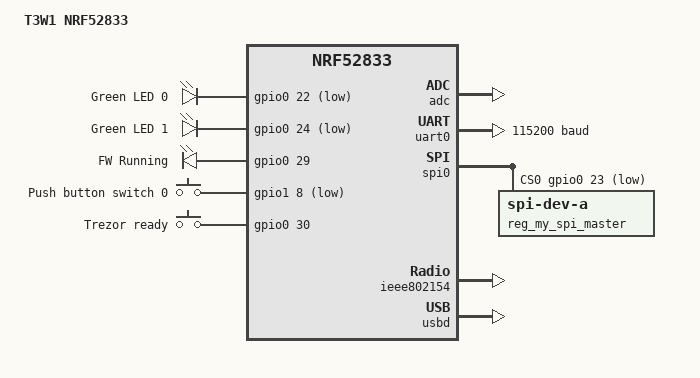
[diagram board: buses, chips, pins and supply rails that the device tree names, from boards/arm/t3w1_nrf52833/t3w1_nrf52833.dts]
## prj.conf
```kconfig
#
# Copyright (c) 2018 Nordic Semiconductor
#
# SPDX-License-Identifier: LicenseRef-Nordic-5-Clause
#

# Enable the UART driver
CONFIG_UART_ASYNC_API=y
CONFIG_NRFX_UARTE0=y
CONFIG_SERIAL=y

CONFIG_NANOPB=y

# Enable the SPI driver
CONFIG_SPI=y
CONFIG_NRFX_SPIM0=y

CONFIG_GPIO=y



CONFIG_HEAP_MEM_POOL_SIZE=2048




CONFIG_BT=y
CONFIG_BT_PERIPHERAL=y
CONFIG_BT_DEVICE_NAME="TrezorZephyr"
CONFIG_BT_DEVICE_APPEARANCE=833
CONFIG_BT_MAX_CONN=1
CONFIG_BT_MAX_PAIRED=8
CONFIG_BT_SMP=y
# CONFIG_BT_SMP_APP_PAIRING_ACCEPT=y
CONFIG_BT_SMP_ENFORCE_MITM=y
CONFIG_BT_SMP_SC_ONLY=y
CONFIG_BT_FILTER_ACCEPT_LIST=y
CONFIG_BT_BONDING_REQUIRED=y
CONFIG_BT_PRIVACY=y
CONFIG_BT_TINYCRYPT_ECC=y
#CONFIG_BT_LL_SW_SPLIT=n
CONFIG_BT_LL_SW_SPLIT=y

#CONFIG_BT_DEBUG_SMP=y

#PHY update needed for updating PHY request
CONFIG_BT_USER_PHY_UPDATE=y

# HCI ACL buffers size
# BT_L2CAP_RX_MTU = CONFIG_BT_BUF_ACL_RX_SIZE - BT_L2CAP_HDR_SIZE
CONFIG_BT_BUF_ACL_RX_SIZE=251

# L2CAP SDU/PDU TX MTU
CONFIG_BT_L2CAP_TX_MTU=247


# Enable bonding
CONFIG_BT_SETTINGS=y
CONFIG_FLASH=y
CONFIG_FLASH_PAGE_LAYOUT=y
CONFIG_FLASH_MAP=y
CONFIG_NVS=y
CONFIG_SETTINGS=y

# Enable DK LED and Buttons library
CONFIG_DK_LIBRARY=y

# This example requires more stack
CONFIG_MAIN_STACK_SIZE=1152
CONFIG_SYSTEM_WORKQUEUE_STACK_SIZE=4096

# NFC
CONFIG_NFC_T4T_NRFXLIB=y

CONFIG_NFC_NDEF=y
CONFIG_NFC_NDEF_MSG=y
CONFIG_NFC_NDEF_RECORD=y
CONFIG_NFC_NDEF_LE_OOB_REC=y
CONFIG_NFC_NDEF_CH_MSG=y

CONFIG_NFC_NDEF_TNEP_RECORD=y
CONFIG_NFC_TNEP_TAG=y
CONFIG_NFC_NDEF_PARSER=y
CONFIG_NFC_NDEF_CH_PARSER=y
CONFIG_NFC_NDEF_LE_OOB_REC_PARSER=y
CONFIG_NFC_TNEP_CH=y

CONFIG_POLL=y

# Config logger
CONFIG_LOG=y
CONFIG_RTT_CONSOLE=y
CONFIG_UART_CONSOLE=n
CONFIG_USE_SEGGER_RTT=y
CONFIG_LOG_BACKEND_RTT=y
CONFIG_LOG_BACKEND_UART=n
CONFIG_LOG_PRINTK=y
CONFIG_LOG_DEFAULT_LEVEL=3

CONFIG_ASSERT=y

# debug
#CONFIG_THREAD_NAME=y
#CONFIG_THREAD_ANALYZER=y
#CONFIG_THREAD_ANALYZER_AUTO=y
#CONFIG_THREAD_ANALYZER_RUN_UNLOCKED=y
#CONFIG_THREAD_ANALYZER_USE_PRINTK=y
#CONFIG_CONSOLE=y
#CONFIG_USE_SEGGER_RTT=y
#CONFIG_CONSOLE=y
#CONFIG_UART_CONSOLE=y
#CONFIG_RTT_CONSOLE=y
#CONFIG_SEGGER_DEBUGMON=y
#CONFIG_LOG_MODE_DEFERRED=y
#CONFIG_SETTINGS=y
#CONFIG_FLASH_MAP=y

#Optimization
CONFIG_DEBUG_OPTIMIZATIONS=y
CONFIG_COMPILER_OPT="-ggdb3 -g3"


CONFIG_THREAD_NAME=y
CONFIG_THREAD_MONITOR=y
CONFIG_CORTEX_M_DEBUG_MONITOR_HOOK=y
CONFIG_SEGGER_DEBUGMON=y

#thread view
#CONFIG_THREAD_ANALYZER=y
#CONFIG_THREAD_ANALYZER_AUTO=y
#CONFIG_THREAD_ANALYZER_RUN_UNLOCKED=y
#CONFIG_THREAD_ANALYZER_USE_PRINTK=y
#not needed for single core
#CONFIG_SCHED_CPU_MASK=y


#CONFIG_SECURE_BOOT=y
CONFIG_BOOTLOADER_MCUBOOT=y
#CONFIG_SB_SIGNING_OPENSSL=y
#CONFIG_SB_SIGNING_KEY_FILE="/home/ondro/work/satoshilabs/repos/ncs/mcuboot_priv.pem"
#CONFIG_SB_SIGNING_KEY_FILE="/home/ondro/work/satoshilabs/repos/ncs/mcuboot_priv.pem"

#CONFIG_SB_PUBLIC_KEY_FILES="/home/ondro/work/satoshilabs/repos/ncs/mcuboot_pub.pem"
#CONFIG_MCUBOOT_SIGNATURE_KEY_FILE="/home/ondro/work/satoshilabs/repos/ncs/mcuboot_priv.pem"
#CONFIG_MCUBOOT_SIGNATURE_KEY_FILE="/home/ondro/work/satoshilabs/repos/ncs/mcuboot_priv.pem"
#CONFIG_BOOT_SIGNATURE_KEY_FILE="/home/ondro/work/satoshilabs/repos/ncs/mcuboot_priv.pem"
CONFIG_MCUBOOT_BOOTLOADER_MODE_SINGLE_APP=y
# This does very different thing, DFU *in app* that just marks it for the mcuboot.
# But just mcumgr serial recovery update is fast enough for flash if >= 0.5 Mbaud is used
#CONFIG_DFU_TARGET_MCUBOOT=y

# NCS docs said you need to have this, but nope, you don't. It's PoS the whole SDK
#CONFIG_MCUMGR=y
#CONFIG_NET_BUF=y
#CONFIG_ZCBOR=y
#CONFIG_CRC=y
#CONFIG_STREAM_FLASH=y
#CONFIG_FLASH_MAP=y

# Enable most core commands.
#CONFIG_IMG_MANAGER=y
#CONFIG_MCUMGR_GRP_IMG=y
#CONFIG_MCUMGR_GRP_OS=y

# Enable the serial mcumgr transport.
#CONFIG_MCUMGR_TRANSPORT_UART=y
#CONFIG_BASE64=y
CONFIG_CONSOLE=n

CONFIG_SYSTEM_WORKQUEUE_STACK_SIZE=4096

# needed for fprotect, if used in app
CONFIG_FPROTECT=y
```

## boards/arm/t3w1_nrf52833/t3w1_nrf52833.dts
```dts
/*
 * Copyright (c) 2019 Nordic Semiconductor ASA
 *
 * SPDX-License-Identifier: Apache-2.0
 */

/dts-v1/;
#include <nordic/nrf52833_qiaa.dtsi>
#include "t3w1_nrf52833-pinctrl.dtsi"
#include <zephyr/dt-bindings/input/input-event-codes.h>

/ {
	model = "T3W1 NRF52833";
	compatible = "nordic,t3w1_nrf52833";

	chosen {
		zephyr,console = &uart0;
		zephyr,shell-uart = &uart0;
		zephyr,uart-mcumgr = &uart0;
		zephyr,bt-mon-uart = &uart0;
		zephyr,bt-c2h-uart = &uart0;
		zephyr,sram = &sram0;
		zephyr,flash = &flash0;
		zephyr,code-partition = &slot0_partition;
		zephyr,ieee802154 = &ieee802154;
	};

	leds {
		compatible = "gpio-leds";
		led0: led_0 {
			gpios = <&gpio0 22 GPIO_ACTIVE_LOW>;
			label = "Green LED 0";
		};
		led1: led_1 {
			gpios = <&gpio0 24 GPIO_ACTIVE_LOW>;
			label = "Green LED 1";
		};
		out0: out_0 {
			gpios = <&gpio0 29 GPIO_ACTIVE_HIGH>;
			label = "FW Running";
		};
	};

	buttons {
		compatible = "gpio-keys";
		button0: button_0 {
			gpios = <&gpio1 8 (GPIO_PULL_UP | GPIO_ACTIVE_LOW)>;
			label = "Push button switch 0";
			zephyr,code = <INPUT_KEY_0>;
		};
		trezor_ready: trezor_ready {
			gpios = <&gpio0 30 (GPIO_PULL_DOWN | GPIO_ACTIVE_HIGH)>;
			label = "Trezor ready";
			zephyr,code = <INPUT_KEY_1>;
		};
	};

	/* These aliases are provided for compatibility with samples */
	aliases {
		led0 = &led0;
		led1 = &led1;
		sw0 = &button0;
		bootloader-led0 = &led0;
                // this is alias to definition of button that enters mcuboot
		mcuboot-button0 = &button0;
		mcuboot-led0 = &led0;
		watchdog0 = &wdt0;
	};
};

&adc {
	status = "okay";
};

&uicr {
	gpio-as-nreset;
};

&gpiote {
	status = "okay";
};

&gpio0 {
	status = "okay";
};

&gpio1 {
	status = "okay";
};

&uart0 {
	compatible = "nordic,nrf-uarte";
	status = "okay";
	current-speed = <115200>;
	pinctrl-0 = <&uart0_default>;
	pinctrl-1 = <&uart0_sleep>;
	pinctrl-names = "default", "sleep";
};

&spi0 {
	compatible = "nordic,nrf-spim";
	status = "okay";
	pinctrl-0 = <&spi0_default>;
	pinctrl-1 = <&spi0_sleep>;
	pinctrl-names = "default", "sleep";
	cs-gpios = <&gpio0 23 GPIO_ACTIVE_LOW>;
	reg_my_spi_master: spi-dev-a@0 {
		reg = <0>;
	};
};

&ieee802154 {
	status = "okay";
};

&flash0 {

	partitions {
		compatible = "fixed-partitions";
		#address-cells = <1>;
		#size-cells = <1>;

		boot_partition: partition@0 {
			label = "mcuboot";
			reg = <0x00000000 0xC000>;
		};
		slot0_partition: partition@c000 {
			label = "image-0";
			reg = <0x0000C000 0x7A000>;
		};
		storage_partition: partition@7a000 {
			label = "storage";
			reg = <0x0007A000 0x00006000>;
		};
	};
};

zephyr_udc0: &usbd {
	compatible = "nordic,nrf-usbd";
	status = "okay";
};
```

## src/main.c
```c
/*
 * Copyright (c) 2018 Nordic Semiconductor ASA
 *
 * SPDX-License-Identifier: LicenseRef-Nordic-5-Clause
 */

/** @file
 *  @brief Nordic UART Bridge Service (NUS) sample
 */

#include <zephyr/types.h>
#include <zephyr/kernel.h>
#include <zephyr/drivers/uart.h>

#include <zephyr/device.h>
#include <zephyr/devicetree.h>
#include <soc.h>

#include <zephyr/bluetooth/bluetooth.h>
#include <zephyr/bluetooth/uuid.h>
#include <zephyr/bluetooth/gatt.h>
#include <zephyr/bluetooth/hci.h>
#include <zephyr/bluetooth/conn.h>


#include <dk_buttons_and_leds.h>

#include <zephyr/settings/settings.h>

#include <zephyr/logging/log.h>

#include <fprotect.h>

#include "uart.h"
#include "spi.h"
#include "connection.h"
#include "int_comm.h"
#include "pb_comm.h"
#include "advertising.h"
#include "trz_nus.h"
#include "oob.h"
#include "events.h"

#define LOG_MODULE_NAME fw
LOG_MODULE_REGISTER(LOG_MODULE_NAME);

#define STACKSIZE CONFIG_BT_NUS_THREAD_STACK_SIZE
#define PRIORITY 7

#define RUN_STATUS_LED DK_LED1
#define RUN_LED_BLINK_INTERVAL 1000

#define FW_RUNNING_SIG DK_LED3


static K_SEM_DEFINE(ble_init_ok, 0, 1);
static K_SEM_DEFINE(led_init_ok, 0, 1);

#define AUTH_SC_FLAG 0x08


static void security_changed(struct bt_conn *conn, bt_security_t level,
			     enum bt_security_err err)
{
	char addr[BT_ADDR_LE_STR_LEN];

	bt_addr_le_to_str(bt_conn_get_dst(conn), addr, sizeof(addr));

	if (!err) {
		LOG_INF("Security changed: %s level %u", addr, level);
	} else {
		LOG_WRN("Security failed: %s level %u err %d", addr,
			level, err);
	}
}

BT_CONN_CB_DEFINE(conn_callbacks) = {
	.connected    = connected,
	.disconnected = disconnected,
	.security_changed = security_changed,
};

//static enum bt_security_err pairing_accept(struct bt_conn *conn,
//                                           const struct bt_conn_pairing_feat *const feat)
//{
//  if (feat->oob_data_flag && (!(feat->auth_req & AUTH_SC_FLAG))) {
//    bt_le_oob_set_legacy_flag(true);
//  }
//
//  return BT_SECURITY_ERR_SUCCESS;
//
//}


static struct bt_conn_auth_cb conn_auth_callbacks = {
//  .pairing_accept = pairing_accept,
	.passkey_display = auth_passkey_display,
	.passkey_confirm = auth_passkey_confirm,
  .oob_data_request = auth_oob_data_request,
	.cancel = auth_cancel,
};

static struct bt_conn_auth_info_cb conn_auth_info_callbacks = {
	.pairing_complete = pairing_complete,
	.pairing_failed = pairing_failed
};


static void bt_receive_cb(struct bt_conn *conn, const uint8_t *const data,
			  uint16_t len)
{
  if ((dk_get_buttons() & DK_BTN2_MSK) == 0){
    LOG_INF("Trezor not ready, rejecting data");
    send_error_response();
    return;
  }

	char addr[BT_ADDR_LE_STR_LEN] = {0};

	bt_addr_le_to_str(bt_conn_get_dst(conn), addr, ARRAY_SIZE(addr));

	LOG_INF("Received data from: %s, %d", addr, len);

  spi_send(data, len);
}

static struct bt_nus_cb nus_cb = {
	.received = bt_receive_cb,
};

void error(void)
{
	dk_set_leds_state(DK_ALL_LEDS_MSK, DK_NO_LEDS_MSK);

	while (true) {
		/* Spin for ever */
		k_sleep(K_MSEC(1000));
	}
}


void button_changed(uint32_t button_state, uint32_t has_changed)
{

}

static void configure_gpio(void)
{
	int err;

	err = dk_buttons_init(button_changed);
	if (err) {
		LOG_ERR("Cannot init buttons (err: %d)", err);
	}

	err = dk_leds_init();
	if (err) {
		LOG_ERR("Cannot init LEDs (err: %d)", err);
	}
}

int main(void)
{
	int err = 0;

  LOG_INF("Initializing");


	configure_gpio();

  //fprotect_area(0, 0x4000);
  err = uart_init();
  if (err) {
    error();
  }

  spi_init();

  err = bt_conn_auth_cb_register(&conn_auth_callbacks);
  if (err) {
    printk("Failed to register authorization callbacks.\n");
    return 0;
  }

  err = bt_conn_auth_info_cb_register(&conn_auth_info_callbacks);
  if (err) {
    printk("Failed to register authorization info callbacks.\n");
    return 0;
  }

	err = bt_enable(NULL);
	if (err) {
		error();
	}

	LOG_INF("Bluetooth initialized");

	k_sem_give(&ble_init_ok);

	if (IS_ENABLED(CONFIG_SETTINGS)) {
		settings_load();
	}

	err = bt_nus_init(&nus_cb);
	if (err) {
		LOG_ERR("Failed to initialize UART service (err: %d)", err);
		return 0;
	}

  bt_set_name("TrezorGAP");

  events_init();
  advertising_init();
  int_comm_start();
  pb_comm_start();
  dk_set_led(FW_RUNNING_SIG, 1);
  send_status_event();

  oob_init();

  k_sem_give(&led_init_ok);

	for (;;) {
    printk("Event occurred\n");

    events_poll();

    oob_process();
    int_comm_thread();
	}
}

void ble_write_thread(void)
{
	/* Don't go any further until BLE is initialized */
	k_sem_take(&ble_init_ok, K_FOREVER);

	for (;;) {
		/* Wait indefinitely for data to be sent over bluetooth */
		uart_data_t *buf = uart_get_data_ext();

		if (bt_nus_send(conn_get_current(), buf->data, buf->len)) {
			LOG_WRN("Failed to send data over BLE connection: %d", buf->len);
		}

		k_free(buf);
	}
}

void led_thread(void)
{
  int blink_status = 0;
  /* Don't go any further until BLE is initialized */
  k_sem_take(&led_init_ok, K_FOREVER);

  for (;;) {
		dk_set_led(RUN_STATUS_LED, (++blink_status) % 2);
		k_sleep(K_MSEC(RUN_LED_BLINK_INTERVAL));
  }
}


K_THREAD_DEFINE(ble_write_thread_id, STACKSIZE, ble_write_thread, NULL, NULL,
        NULL, PRIORITY, 0, 0);

K_THREAD_DEFINE(led_thread_id, STACKSIZE, led_thread, NULL, NULL,
        NULL, PRIORITY, 0, 0);
```

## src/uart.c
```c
#include <zephyr/types.h>
#include <zephyr/kernel.h>
#include <zephyr/drivers/uart.h>

#include <zephyr/device.h>
#include <zephyr/devicetree.h>

#include <dk_buttons_and_leds.h>

#include <zephyr/settings/settings.h>
#include <zephyr/logging/log.h>

#include "uart.h"
#include "int_comm.h"
#include "int_comm_defs.h"
#include "events.h"

#define LOG_MODULE_NAME fw_uart
LOG_MODULE_REGISTER(LOG_MODULE_NAME);

#define UART_WAIT_FOR_BUF_DELAY K_MSEC(50)
#define UART_WAIT_FOR_RX CONFIG_BT_NUS_UART_RX_WAIT_TIME

const struct device *uart = DEVICE_DT_GET(DT_CHOSEN(nordic_nus_uart));

static K_FIFO_DEFINE(fifo_uart_tx_data);
static K_FIFO_DEFINE(fifo_uart_rx_data);
static K_FIFO_DEFINE(fifo_uart_rx_data_int);
static K_FIFO_DEFINE(fifo_uart_rx_data_pb);


static struct k_poll_signal fifo_uart_rx_data_int_signal;


static void uart_cb(const struct device *dev, struct uart_event *evt, void *user_data)
{
  ARG_UNUSED(dev);

  static size_t aborted_len;
  uart_data_t *buf;
  static uint8_t *aborted_buf;
  static bool disable_req;
  static uint8_t rx_phase = 0;
  static uint8_t rx_msg_type = 0;
  static uint8_t rx_data_len = 0;
  static uint8_t rx_len = 0;

  switch (evt->type) {
    case UART_TX_DONE:
      LOG_DBG("UART_TX_DONE");
      if ((evt->data.tx.len == 0) ||
          (!evt->data.tx.buf)) {
        return;
      }

      if (aborted_buf) {
        buf = CONTAINER_OF(aborted_buf, uart_data_t,
        data);
        aborted_buf = NULL;
        aborted_len = 0;
      } else {
        buf = CONTAINER_OF(evt->data.tx.buf, uart_data_t,
        data);
      }

      k_free(buf);

      buf = k_fifo_get(&fifo_uart_tx_data, K_NO_WAIT);
      if (!buf) {
        return;
      }

      if (uart_tx(uart, buf->data, buf->len, SYS_FOREVER_MS)) {
        LOG_WRN("Failed to send data over UART");
      }

      break;

    case UART_RX_RDY:
      LOG_DBG("UART_RX_RDY");
      buf = CONTAINER_OF(evt->data.rx.buf, uart_data_t, data);
      buf->len += evt->data.rx.len;

      switch(rx_phase) {
        case 0:
          if (buf->len == 1 && (buf->data[0] == INTERNAL_EVENT || buf->data[0] == INTERNAL_MESSAGE || buf->data[0] == EXTERNAL_MESSAGE) ) {
            rx_phase = 1;
            rx_msg_type = buf->data[0];
          } else {
            rx_phase = 0;
          }
          break;
        case 1:
          if (buf->len == 2) {
            rx_data_len = buf->data[0] << 8 | buf->data[1];
            rx_phase = 2;
          } else{
            rx_phase = 0;
          }
          break;
        case 2:
          if (buf->len == rx_data_len - 3) {
            rx_phase = 3;
          } else {
            rx_phase = 0;
          }
          break;
      }

//		if (disable_req) {
//			return;
//		}

//		if ((evt->data.rx.buf[buf->len - 1] == '\n') ||
//		    (evt->data.rx.buf[buf->len - 1] == '\r')) {
//			disable_req = true;
//			uart_rx_disable(uart);
//		}

      break;

    case UART_RX_DISABLED:
      LOG_DBG("UART_RX_DISABLED");
      disable_req = false;

      buf = k_malloc(sizeof(*buf));

      if (buf) {

        switch (rx_phase) {
          case 0:
            rx_len = 1;
            break;
          case 1:
            rx_len = 2;
            break;
          case 2:
            rx_len = rx_data_len - 3;
            break;

          default:
            rx_len = 1;
            break;
        }

        buf->len = 0;
        uart_rx_enable(uart, buf->data, rx_len, SYS_FOREVER_US);
      } else {
        LOG_WRN("Not able to allocate UART receive buffer");
      }

//		buf = k_malloc(sizeof(*buf));
//		if (buf) {
//			buf->len = 0;
//		} else {
//			LOG_WRN("Not able to allocate UART receive buffer");
//			k_work_reschedule(&uart_work, UART_WAIT_FOR_BUF_DELAY);
//			return;
//		}
//
//		uart_rx_enable(uart, buf->data, sizeof(buf->data),
//			       UART_WAIT_FOR_RX);

      break;

//	case UART_RX_BUF_REQUEST:
//		LOG_DBG("UART_RX_BUF_REQUEST");
//		buf = k_malloc(sizeof(*buf));
//
//
//		if (buf) {
//
//      switch (rx_phase) {
//        case 0:
//          rx_len = 1;
//          break;
//        case 1:
//          rx_len = 2;
//          break;
//        default:
//          rx_len = 1;
//          break;
//      }
//
//			buf->len = 0;
//      LOG_DBG("Providing buf %d", rx_len);
//			uart_rx_buf_rsp(uart, buf->data, rx_len);
//		} else {
//			LOG_WRN("Not able to allocate UART receive buffer");
//		}
//
//		break;

    case UART_RX_BUF_RELEASED:
      LOG_DBG("UART_RX_BUF_RELEASED");
      buf = CONTAINER_OF(evt->data.rx_buf.buf, uart_data_t,
      data);

      if (rx_phase == 3 && buf->len > 0) {
        buf->len -= 1;
        if (rx_msg_type == EXTERNAL_MESSAGE) {
          k_fifo_put(&fifo_uart_rx_data, buf);
        }
        else  if (rx_msg_type == INTERNAL_EVENT) {
          k_fifo_put(&fifo_uart_rx_data_int, buf);
          k_poll_signal_raise(&fifo_uart_rx_data_int_signal, 0);
        }
        else {
          k_fifo_put(&fifo_uart_rx_data_pb, buf);
        }
        rx_data_len= 0;
        rx_len = 0;
        rx_msg_type = 0;
        rx_phase = 0;
      } else {
        k_free(buf);
      }
      break;

    case UART_TX_ABORTED:
      LOG_DBG("UART_TX_ABORTED");
      if (!aborted_buf) {
        aborted_buf = (uint8_t *)evt->data.tx.buf;
      }

      aborted_len += evt->data.tx.len;
      buf = CONTAINER_OF(aborted_buf, uart_data_t,
      data);

      uart_tx(uart, &buf->data[aborted_len],
              buf->len - aborted_len, SYS_FOREVER_MS);

      break;

    default:
      break;
  }
}


int uart_init(void)
{
  int err;
  uart_data_t *rx;



  if (!device_is_ready(uart)) {
    return -ENODEV;
  }

  k_poll_signal_init(&fifo_uart_rx_data_int_signal);
  k_poll_event_init(events_get(INT_COMM_EVENT_NUM),
                    K_POLL_TYPE_SIGNAL, K_POLL_MODE_NOTIFY_ONLY,
                    &fifo_uart_rx_data_int_signal);

  struct uart_config cfg = {
          .baudrate = 1000000,
          .parity = UART_CFG_PARITY_NONE,
          .stop_bits = UART_CFG_STOP_BITS_1,
          .data_bits = UART_CFG_DATA_BITS_8,
          .flow_ctrl = UART_CFG_FLOW_CTRL_RTS_CTS,

  };

  uart_configure(uart, &cfg);

  rx = k_malloc(sizeof(*rx));
  if (rx) {
    rx->len = 0;
  } else {
    return -ENOMEM;
  }

  err = uart_callback_set(uart, uart_cb, NULL);
  if (err) {
    LOG_ERR("Cannot initialize UART callback (err: %d) FF", err);
    k_free(rx);
    return err;
  }

  // receive message type
  err = uart_rx_enable(uart, rx->data, 1, SYS_FOREVER_US);
  if (err) {
    LOG_ERR("Cannot enable uart reception (err: %d)", err);
    /* Free the rx buffer only because the tx buffer will be handled in the callback */
    k_free(rx);
  }

  return err;
}


void uart_send_ext(uart_data_t *tx)
{
  k_fifo_put(&fifo_uart_rx_data, tx);
}

uart_data_t *uart_get_data_ext(void)
{
  return k_fifo_get(&fifo_uart_rx_data, K_FOREVER);
}

uart_data_t *uart_get_data_int(void)
{
  return k_fifo_get(&fifo_uart_rx_data_int, K_NO_WAIT);
}

uart_data_t *uart_get_data_pb(void)
{
  return k_fifo_get(&fifo_uart_rx_data_pb, K_MSEC(100));
}

void uart_data_pb_flush(void){
  while(uart_get_data_pb() != NULL);
}

void uart_send(uart_data_t *tx)
{
  int err = uart_tx(uart, tx->data, tx->len, SYS_FOREVER_MS);
  if (err) {
    k_fifo_put(&fifo_uart_tx_data, tx);
  }
}
```
